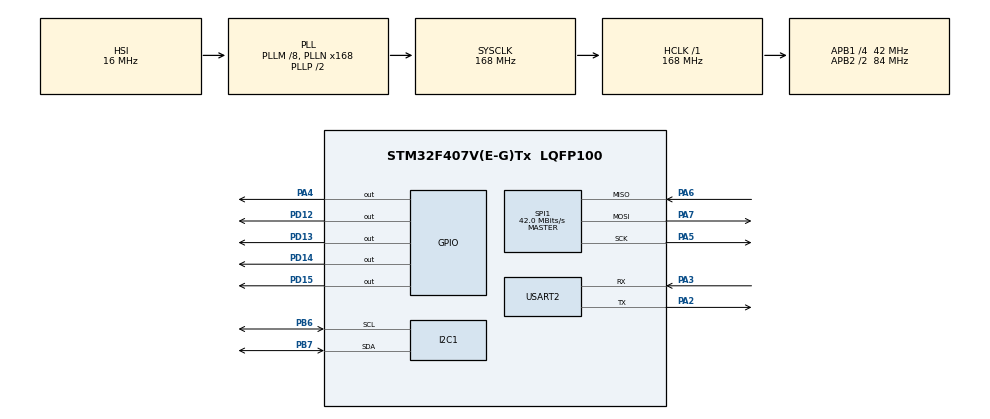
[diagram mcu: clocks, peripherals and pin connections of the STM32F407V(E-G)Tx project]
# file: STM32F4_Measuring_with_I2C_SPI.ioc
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Dma.Request0=SPI1_RX
Dma.Request1=SPI1_TX
Dma.SPI1_RX.0.Direction=DMA_PERIPH_TO_MEMORY
Dma.SPI1_RX.0.FIFOMode=DMA_FIFOMODE_DISABLE
Dma.SPI1_RX.0.Instance=DMA2_Stream0
Dma.SPI1_RX.0.MemDataAlignment=DMA_MDATAALIGN_BYTE
Dma.SPI1_RX.0.MemInc=DMA_MINC_ENABLE
Dma.SPI1_RX.0.Mode=DMA_NORMAL
Dma.SPI1_RX.0.PeriphDataAlignment=DMA_PDATAALIGN_BYTE
Dma.SPI1_RX.0.PeriphInc=DMA_PINC_DISABLE
Dma.SPI1_RX.0.Priority=DMA_PRIORITY_LOW
Dma.SPI1_TX.1.Direction=DMA_MEMORY_TO_PERIPH
Dma.SPI1_TX.1.FIFOMode=DMA_FIFOMODE_DISABLE
Dma.SPI1_TX.1.Instance=DMA2_Stream3
Dma.SPI1_TX.1.MemDataAlignment=DMA_MDATAALIGN_BYTE
Dma.SPI1_TX.1.MemInc=DMA_MINC_ENABLE
Dma.SPI1_TX.1.Mode=DMA_NORMAL
Dma.SPI1_TX.1.PeriphDataAlignment=DMA_PDATAALIGN_BYTE
Dma.SPI1_TX.1.PeriphInc=DMA_PINC_DISABLE
Dma.SPI1_TX.1.Priority=DMA_PRIORITY_LOW
I2C1.OwnAddress=41
Mcu.Family=STM32F4
Mcu.Name=STM32F407V(E-G)Tx
Mcu.Package=LQFP100
NVIC.DMA2_Stream0_IRQn=true\:1\:0\:true\:false\:true\:false\:true
NVIC.DMA2_Stream3_IRQn=true\:2\:0\:true\:false\:true\:false\:true
NVIC.PriorityGroup=NVIC_PRIORITYGROUP_4
NVIC.USART2_IRQn=true\:0\:0\:false\:true\:true\:1\:true\:true
PA2.Mode=Asynchronous
PA2.Signal=USART2_TX
PA3.Mode=Asynchronous
PA3.Signal=USART2_RX
PA4.Signal=GPIO_Output
PA5.Mode=Full_Duplex_Master
PA5.Signal=SPI1_SCK
PA6.Mode=Full_Duplex_Master
PA6.Signal=SPI1_MISO
PA7.Mode=Full_Duplex_Master
PA7.Signal=SPI1_MOSI
PB6.Mode=I2C
PB6.Signal=I2C1_SCL
PB7.Mode=I2C
PB7.Signal=I2C1_SDA
PD12.Signal=GPIO_Output
PD13.Signal=GPIO_Output
PD14.Signal=GPIO_Output
PD15.Signal=GPIO_Output
PH0-OSC_IN.Mode=HSE-External-Oscillator
PH0-OSC_IN.Signal=RCC_OSC_IN
PH1-OSC_OUT.Mode=HSE-External-Oscillator
PH1-OSC_OUT.Signal=RCC_OSC_OUT
ProjectManager.HeapSize=0x200
ProjectManager.StackSize=0x400
ProjectManager.TargetToolchain=SW4STM32
RCC.48MHZClocksFreq_Value=84000000
RCC.AHBFreq_Value=168000000
RCC.APB1CLKDivider=RCC_HCLK_DIV4
RCC.APB1Freq_Value=42000000
RCC.APB1TimFreq_Value=84000000
RCC.APB2CLKDivider=RCC_HCLK_DIV2
RCC.APB2Freq_Value=84000000
RCC.APB2TimFreq_Value=168000000
RCC.CortexFreq_Value=168000000
RCC.HCLKFreq_Value=168000000
RCC.HSE_VALUE=8000000
RCC.HSI_VALUE=16000000
RCC.LSE_VALUE=32768
RCC.PLLM=8
RCC.PLLN=168
RCC.SYSCLKFreq_VALUE=168000000
RCC.SYSCLKSource=RCC_SYSCLKSOURCE_PLLCLK
RCC.VCOOutputFreq_Value=336000000
SPI1.BaudRatePrescaler=SPI_BAUDRATEPRESCALER_2
SPI1.CLKPolarity=SPI_POLARITY_HIGH
SPI1.CalculateBaudRate=42.0 MBits/s
SPI1.Direction=SPI_DIRECTION_2LINES
SPI1.Mode=SPI_MODE_MASTER
SPI1.VirtualType=VM_MASTER
USART2.OverSampling=UART_OVERSAMPLING_16
USART2.VirtualMode=VM_ASYNC
board=custom

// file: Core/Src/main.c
/* USER CODE BEGIN Header */
/**
 ******************************************************************************
 * @file           : main.c
 * @brief          : Main program body
 ******************************************************************************
 * @attention
 *
 * <h2><center>&copy; Copyright (c) 2021 STMicroelectronics.
 * All rights reserved.</center></h2>
 *
 * This software component is licensed by ST under BSD 3-Clause license,
 * the "License"; You may not use this file except in compliance with the
 * License. You may obtain a copy of the License at:
 *                        opensource.org/licenses/BSD-3-Clause
 *
 ******************************************************************************
 */
/* USER CODE END Header */
#include "main.h"

/* USER CODE BEGIN Includes */
#include <stdio.h>
#include <string.h>
#include <stdio.h>
#include "math.h"

/* USER CODE END Includes */

/* USER CODE BEGIN PD */
#define max_strlen 50

/* USER CODE END PD */

I2C_HandleTypeDef hi2c1;

SPI_HandleTypeDef hspi1;
DMA_HandleTypeDef hdma_spi1_rx;
DMA_HandleTypeDef hdma_spi1_tx;

UART_HandleTypeDef huart2;

void SystemClock_Config(void);
static void MX_GPIO_Init(void);
static void MX_DMA_Init(void);
static void MX_USART2_UART_Init(void);
static void MX_I2C1_Init(void);
static void MX_SPI1_Init(void);
static void MX_NVIC_Init(void);
/* USER CODE BEGIN PFP */
void Usart_Menu(char *input);
void BMP180_Init();
float BMP180_Read_Pressure();
float BMP180_Read_Temperature();
void MPU9250_Init();
float * MPU9250_Read_Accels();

char msg[max_strlen + 1] = "Merhaba\n";
char rxbuffer;
char received_string[max_strlen + 1];
char usart_data[max_strlen + 1];
uint8_t cnt = 0;
uint8_t i = 0;
uint8_t i2cbuff[12];
HAL_StatusTypeDef state;
uint8_t ctrl = 0b01000000; // for standart mode(number of samples=2 conversion time= 7.5ms) used 6-7/ it means oss=0b01
uint8_t oss = 1;
long B5;
/* USER CODE END PFP */

/* USER CODE BEGIN 0 */
//byte to word   word=(msb<<8)+lsb
void BMP180_Init() {
	HAL_StatusTypeDef state;

	state = HAL_I2C_Mem_Write(&hi2c1, BMP180_WRITE_ADR, BMP180ADR_CTRL_REG, 1, &ctrl, 1, 10);  //1. Write oversampling settings to control register
	HAL_Delay(7.5);
	uint8_t data[BMP180ADR_CALIB_ADR_COUNT];

	if (state == HAL_OK) {

		HAL_I2C_Mem_Read(&hi2c1, BMP180_READ_ADR, BMP180ADR_CALIB_START_ADR, 1,data, BMP180ADR_CALIB_ADR_COUNT, 10); // 2. Read Calibration Data from device

		bmp_params.ac1 = (data[0] << 8) + data[1];
		bmp_params.ac2 = (data[2] << 8) + data[3];
		bmp_params.ac3 = (data[4] << 8) + data[5];
		bmp_params.ac4 = (data[6] << 8) + data[7];
		bmp_params.ac5 = (data[8] << 8) + data[8];
		bmp_params.ac6 = (data[10] << 8) + data[11];
		bmp_params.b1  = (data[12] << 8) + data[13];
		bmp_params.b2  = (data[14] << 8) + data[15];
		bmp_params.mb  = (data[16] << 8) + data[17];
		bmp_params.mc  = (data[18] << 8) + data[19];
		bmp_params.md  = (data[20] << 8) + data[11];

	}else{
		sprintf(msg, "BMP180 Error!\n");
		HAL_UART_Transmit_IT(&huart2, (uint8_t *) msg, strlen(msg));

		while(1){
			HAL_GPIO_TogglePin(GPIOD, GPIO_PIN_12);
			HAL_Delay(100);
		}
	}

}

float BMP180_Read_Pressure() {

	uint8_t buf[3] = {0};
	HAL_I2C_Mem_Write(&hi2c1, BMP180_WRITE_ADR, BMP180ADR_CTRL_REG, 1, (uint8_t *)BMP180_PRS_ADR, 1, 10); // if we put pressure address to control reg we can read pressure value from out registers
	HAL_Delay(8);
	HAL_I2C_Mem_Read(&hi2c1, BMP180_READ_ADR, BMP180_OUT_MSB_ADR, 1, &buf[0], 1, 10);                           // reading pressure values from device
	HAL_I2C_Mem_Read(&hi2c1, BMP180_READ_ADR, BMP180_OUT_LSB_ADR, 1, &buf[1], 1, 10);
	HAL_I2C_Mem_Read(&hi2c1, BMP180_READ_ADR, BMP180_OUT_XLSB_ADR, 1, &buf[2], 1, 10);

	//Calculate pressure value
	long pressure;
	long UP = (buf[0] << 16) + (buf[1] << 8) + (buf[2] >> (8 - oss));
	long B6 = B5 - 4000;
	long X1 = ((bmp_params.b2 * ((B6 * B6) / pow(2, 12)))) / pow(2, 11);
	long X2 = (bmp_params.ac2 * B6) / pow(2, 11);
	long X3 = X1 + X2;
	long B3 = (((bmp_params.ac1 * 4 + X3) << oss) + 2) / 4;
	X1 = (bmp_params.ac3 * B6) / pow(2, 13);
	X2 = (bmp_params.b1 * ((B6 * B6) / pow(2, 12))) / pow(2, 16);
	X3 = ((X1 + X2) + 2) / (2 * 2);
	long B4 = bmp_params.ac4 * (unsigned long)(X3 + 32768) / pow(2, 15);
	long B7 = ((unsigned long)UP - B3) * (50000 >> oss);

	if(B7 < 0x80000000){pressure = (B7 * 2) / B4;}
	else{pressure = (B7 / B4) * 2;}

	X1 = (pressure / pow(2, 8)) * (pressure / pow(2, 8));
	X1 = (X1 * 3038) / pow(2, 16);
	X2 = (-7357 * pressure) / pow(2, 16);
	pressure = pressure + (X1 + X2 + 3791) / pow(2, 4);

	return (float)pressure;
}

float BMP180_Read_Temperature(){

	uint8_t buf[2] = {0};
	HAL_I2C_Mem_Write(&hi2c1, BMP180_WRITE_ADR, BMP180ADR_CTRL_REG, 1, (uint8_t *)BMP180_TMP_ADR, 1, 10); // if we put temp. address to control reg we can read temp value from out registers
	HAL_Delay(5);
	HAL_I2C_Mem_Read(&hi2c1, BMP180_READ_ADR, BMP180_OUT_LSB_ADR, 1, &buf[0], 1, 10);					   	// getting temp. values from device
	HAL_I2C_Mem_Read(&hi2c1, BMP180_READ_ADR, BMP180_OUT_MSB_ADR, 1, &buf[1], 1, 10);

	long UT = (buf[1] << 8) + buf[0];      // Uncompansated temp value

	//Calculate temp value
	long X1 = (UT - bmp_params.ac6) * (bmp_params.ac5 /pow(2, 15));
	long X2 = (bmp_params.mc * pow(2, 11)) / (X1 + bmp_params.md);
	B5 = X1 + X2;
	long temp = (B5 + 8) / pow(2, 4);

	return (float)temp;
}

void MPU9250_Init(){
	HAL_GPIO_WritePin(GPIOA, GPIO_PIN_4, GPIO_PIN_SET); // NCS Pin High to enable chip

	HAL_StatusTypeDef state;

	uint8_t rx;

	state = HAL_SPI_TransmitReceive(&hspi1, (uint8_t *)MPU9250_WHOAMI, &rx, 1, 50);  //Check WHO AM I register in MPU9250. It should be equal to reset value(0x71) by datasheet.

	if(rx != 0x71 || state != HAL_OK)
		Error_Handler();

	HAL_SPI_Transmit(&hspi1, (uint8_t *)MPU9250_PWR_MGMT_1, 1, 50); // Send 0x80 to pwr_mgmt_1 register for reset chip
	HAL_SPI_Transmit(&hspi1, (uint8_t *)0x08, 1, 50);
	HAL_Delay(10); // wait for chip to back

	HAL_SPI_Transmit(&hspi1, (uint8_t *)MPU9250_PWR_MGMT_2, 1, 50); // Send 0x00 to pwr_mgmt_2 register for enable accelerometer and gyro
	HAL_SPI_Transmit(&hspi1, (uint8_t *)0x00, 1, 50);

	HAL_SPI_Transmit(&hspi1, (uint8_t *)MPU9250_ACCEL_CONFIG, 1, 50); // Send 0x18 to accel_config register for set accelerometer range 16g
	HAL_SPI_Transmit(&hspi1, (uint8_t *)0x18, 1, 50);

	HAL_SPI_Transmit(&hspi1, (uint8_t *)MPU9250_ACCEL_CONFIG_2, 1, 50); // Send 0x01 to accel_config_2 register for set bandwith 184Hz
	HAL_SPI_Transmit(&hspi1, (uint8_t *)0x01, 1, 50);

	HAL_SPI_Transmit(&hspi1, (uint8_t *)MPU9250_SMPLRT_DIV, 1, 50); // Send 0x00 to smplrt_div register for update rate divider as 0
	HAL_SPI_Transmit(&hspi1, (uint8_t *)0x00, 1, 50);

	HAL_SPI_Transmit(&hspi1, (uint8_t *)MPU9250_USER_CTRL, 1, 50); // Send 0x10 to user_ctrl register for disable i2c and enable spi mode
	HAL_SPI_Transmit(&hspi1, (uint8_t *)0x10, 1, 50);

	HAL_GPIO_WritePin(GPIOA, GPIO_PIN_4, GPIO_PIN_RESET); // NCS Pin low to disable chip

	//MPU9250 communication began.

}

float * MPU9250_Read_Accels(){  // This function is returning pointer to acces 3-axis accel data from device with only 1 function calling
	HAL_GPIO_WritePin(GPIOA, GPIO_PIN_4, GPIO_PIN_SET); // NCS Pin High to enable chip

	uint8_t accels[6];
	static short * results[3];

	HAL_SPI_TransmitReceive_DMA(&hspi1, (uint8_t *)MPU9250_ACCEL_XOUT_H, (uint8_t *)accels, 6);  // start reading from XOUT_H register to ZOUT_L sequential

	*results[0] = (accels[0]<<8) + accels[1]; // acceleration value of x-axis
	*results[1] = (accels[2]<<8) + accels[3]; // acceleration value of y-axis
	*results[2] = (accels[4]<<8) + accels[5]; // acceleration value of z-axis

	HAL_GPIO_WritePin(GPIOA, GPIO_PIN_4, GPIO_PIN_RESET); // NCS Pin low to disable chip

	return (float *)results;
}

void HAL_UART_RxCpltCallback(UART_HandleTypeDef *huart) {  // This Function work when receive data from usart
	/* Prevent unused argument(s) compilation warning */
	UNUSED(huart);
	/* NOTE: This function should not be modified, when the callback is needed,
	 the HAL_UART_RxCpltCallback could be implemented in the user file
	 */

	if ((rxbuffer != '\n') && (cnt < max_strlen)) { // Read usart data as 1 char then combine them all as char array
		                                            // until receive '\n' character or reach to max string length

		received_string[cnt] = rxbuffer;

		cnt++;
		i = cnt;

	} else {										// When complete the receiving data then copy to usart_data variable and remove received_string for new data receive

		cnt = 0;
		strcpy(usart_data, received_string);

		Usart_Menu(usart_data);						// send usart_data to Usart_Menu function for general operations

		HAL_GPIO_TogglePin(GPIOD, GPIO_PIN_15);
		memset(&received_string, 0, sizeof(received_string)); // remove received_string

	}

}

void Usart_Menu(char *input) {

	float *a;                    /* pointer for hold accelerometer values
	 	 	 	 	 	 	 	 	a -> x-axis
	 	 	 	 	 	 	 	 	a + 1 -> y axis
	 	 	 	 	 	 	 	 	a + 2 -> z axis*/

	a = MPU9250_Read_Accels();

	float ay = *(a + 1);
	float az = *(a + 2);
	float angle = atan2(ay, az)*180/M_PI;   /*Calculate roll angle
	 	 	 	 	 	 	 	 	 	 	  !!!atan2 function(arc tangent) returns value as rad/s
	 	 	 	 	 	 	 	 	 	 	  we can calculate degree with multiply 180/M_PI*/

	if (!strcmp(input, "p")) {										   // if receive 'p' from usart send pressure value back
		sprintf(msg, "Pressure: %f\n", BMP180_Read_Temperature());
		HAL_UART_Transmit_IT(&huart2, (uint8_t *) msg, strlen(msg));
		HAL_GPIO_TogglePin(GPIOD, GPIO_PIN_12);

	} else if (!strcmp(input, "t")) {
		sprintf(msg, "Temperature: %f\n", BMP180_Read_Temperature()); // if receive 't' from usart send temperature value back
		HAL_UART_Transmit_IT(&huart2, (uint8_t *) msg, strlen(msg));

	} else if (!strcmp(input, "a")) {
		sprintf(msg, "Angle: %f\n",angle);
		HAL_UART_Transmit_IT(&huart2, (uint8_t *) msg, strlen(msg));  // if receive 'a' from usart send angle value back

	} else if (!strcmp(input, "all")) {								  // if receive 'all' from usart send all value back
		sprintf(msg, "Pressure: %f Temp: %f Angle: %f\n", BMP180_Read_Pressure(), BMP180_Read_Temperature(), angle);
		HAL_UART_Transmit_IT(&huart2, (uint8_t *) msg, strlen(msg));

	}

}

/* USER CODE END 0 */

int main(void)
{

  /* MCU Configuration--------------------------------------------------------*/

  /* Reset of all peripherals, Initializes the Flash interface and the Systick. */
  HAL_Init();

  /* Configure the system clock */
  SystemClock_Config();

  /* Initialize all configured peripherals */
  MX_GPIO_Init();
  MX_DMA_Init();
  MX_USART2_UART_Init();
  MX_I2C1_Init();
  MX_SPI1_Init();

  /* Initialize interrupts */
  MX_NVIC_Init();
  /* USER CODE BEGIN 2 */

  __HAL_UART_ENABLE_IT(&huart2, UART_IT_RXNE);

  HAL_UART_Transmit_IT(&huart2, (uint8_t *) msg, strlen(msg));

  __HAL_SPI_ENABLE(&hspi1);
  BMP180_Init();
  MPU9250_Init();

  /* USER CODE END 2 */

  /* Infinite loop */
	while (1) {

    /* USER CODE BEGIN 3 */

		HAL_Delay(10);

	}
  /* USER CODE END 3 */
}

void SystemClock_Config(void)
{
  RCC_OscInitTypeDef RCC_OscInitStruct = {0};
  RCC_ClkInitTypeDef RCC_ClkInitStruct = {0};

  /** Configure the main internal regulator output voltage
  */
  __HAL_RCC_PWR_CLK_ENABLE();
  __HAL_PWR_VOLTAGESCALING_CONFIG(PWR_REGULATOR_VOLTAGE_SCALE1);
  /** Initializes the RCC Oscillators according to the specified parameters
  * in the RCC_OscInitTypeDef structure.
  */
  RCC_OscInitStruct.OscillatorType = RCC_OSCILLATORTYPE_HSI;
  RCC_OscInitStruct.HSIState = RCC_HSI_ON;
  RCC_OscInitStruct.HSICalibrationValue = RCC_HSICALIBRATION_DEFAULT;
  RCC_OscInitStruct.PLL.PLLState = RCC_PLL_ON;
  RCC_OscInitStruct.PLL.PLLSource = RCC_PLLSOURCE_HSI;
  RCC_OscInitStruct.PLL.PLLM = 8;
  RCC_OscInitStruct.PLL.PLLN = 168;
  RCC_OscInitStruct.PLL.PLLP = RCC_PLLP_DIV2;
  RCC_OscInitStruct.PLL.PLLQ = 4;
  if (HAL_RCC_OscConfig(&RCC_OscInitStruct) != HAL_OK)
  {
    Error_Handler();
  }
  /** Initializes the CPU, AHB and APB buses clocks
  */
  RCC_ClkInitStruct.ClockType = RCC_CLOCKTYPE_HCLK|RCC_CLOCKTYPE_SYSCLK
                              |RCC_CLOCKTYPE_PCLK1|RCC_CLOCKTYPE_PCLK2;
  RCC_ClkInitStruct.SYSCLKSource = RCC_SYSCLKSOURCE_PLLCLK;
  RCC_ClkInitStruct.AHBCLKDivider = RCC_SYSCLK_DIV1;
  RCC_ClkInitStruct.APB1CLKDivider = RCC_HCLK_DIV4;
  RCC_ClkInitStruct.APB2CLKDivider = RCC_HCLK_DIV2;

  if (HAL_RCC_ClockConfig(&RCC_ClkInitStruct, FLASH_LATENCY_5) != HAL_OK)
  {
    Error_Handler();
  }
}

/**
  * @brief NVIC Configuration.
  * @retval None
  */
static void MX_NVIC_Init(void)
{
  /* USART2_IRQn interrupt configuration */
  HAL_NVIC_SetPriority(USART2_IRQn, 0, 0);
  HAL_NVIC_EnableIRQ(USART2_IRQn);
}

static void MX_I2C1_Init(void)
{

  hi2c1.Instance = I2C1;
  hi2c1.Init.ClockSpeed = 100000;
  hi2c1.Init.DutyCycle = I2C_DUTYCYCLE_2;
  hi2c1.Init.OwnAddress1 = 82;
  hi2c1.Init.AddressingMode = I2C_ADDRESSINGMODE_7BIT;
  hi2c1.Init.DualAddressMode = I2C_DUALADDRESS_DISABLE;
  hi2c1.Init.OwnAddress2 = 0;
  hi2c1.Init.GeneralCallMode = I2C_GENERALCALL_DISABLE;
  hi2c1.Init.NoStretchMode = I2C_NOSTRETCH_DISABLE;
  if (HAL_I2C_Init(&hi2c1) != HAL_OK)
  {
    Error_Handler();
  }

}

static void MX_SPI1_Init(void)
{

  /* SPI1 parameter configuration*/
  hspi1.Instance = SPI1;
  hspi1.Init.Mode = SPI_MODE_MASTER;
  hspi1.Init.Direction = SPI_DIRECTION_2LINES;
  hspi1.Init.DataSize = SPI_DATASIZE_8BIT;
  hspi1.Init.CLKPolarity = SPI_POLARITY_HIGH;
  hspi1.Init.CLKPhase = SPI_PHASE_1EDGE;
  hspi1.Init.NSS = SPI_NSS_SOFT;
  hspi1.Init.BaudRatePrescaler = SPI_BAUDRATEPRESCALER_2;
  hspi1.Init.FirstBit = SPI_FIRSTBIT_MSB;
  hspi1.Init.TIMode = SPI_TIMODE_DISABLE;
  hspi1.Init.CRCCalculation = SPI_CRCCALCULATION_DISABLE;
  hspi1.Init.CRCPolynomial = 10;
  if (HAL_SPI_Init(&hspi1) != HAL_OK)
  {
    Error_Handler();
  }

}

static void MX_USART2_UART_Init(void)
{

  huart2.Instance = USART2;
  huart2.Init.BaudRate = 115200;
  huart2.Init.WordLength = UART_WORDLENGTH_8B;
  huart2.Init.StopBits = UART_STOPBITS_1;
  huart2.Init.Parity = UART_PARITY_NONE;
  huart2.Init.Mode = UART_MODE_TX_RX;
  huart2.Init.HwFlowCtl = UART_HWCONTROL_NONE;
  huart2.Init.OverSampling = UART_OVERSAMPLING_16;
  if (HAL_UART_Init(&huart2) != HAL_OK)
  {
    Error_Handler();
  }

}

static void MX_DMA_Init(void)
{

  /* DMA controller clock enable */
  __HAL_RCC_DMA2_CLK_ENABLE();

  /* DMA interrupt init */
  /* DMA2_Stream0_IRQn interrupt configuration */
  HAL_NVIC_SetPriority(DMA2_Stream0_IRQn, 1, 0);
  HAL_NVIC_EnableIRQ(DMA2_Stream0_IRQn);
  /* DMA2_Stream3_IRQn interrupt configuration */
  HAL_NVIC_SetPriority(DMA2_Stream3_IRQn, 2, 0);
  HAL_NVIC_EnableIRQ(DMA2_Stream3_IRQn);

}

static void MX_GPIO_Init(void)
{
  GPIO_InitTypeDef GPIO_InitStruct = {0};

  /* GPIO Ports Clock Enable */
  __HAL_RCC_GPIOH_CLK_ENABLE();
  __HAL_RCC_GPIOA_CLK_ENABLE();
  __HAL_RCC_GPIOD_CLK_ENABLE();
  __HAL_RCC_GPIOB_CLK_ENABLE();

  /*Configure GPIO pin Output Level */
  HAL_GPIO_WritePin(GPIOA, GPIO_PIN_4, GPIO_PIN_RESET);

  /*Configure GPIO pin Output Level */
  HAL_GPIO_WritePin(GPIOD, GPIO_PIN_12|GPIO_PIN_13|GPIO_PIN_14|GPIO_PIN_15, GPIO_PIN_RESET);

  /*Configure GPIO pin : PA4 */
  GPIO_InitStruct.Pin = GPIO_PIN_4;
  GPIO_InitStruct.Mode = GPIO_MODE_OUTPUT_PP;
  GPIO_InitStruct.Pull = GPIO_NOPULL;
  GPIO_InitStruct.Speed = GPIO_SPEED_FREQ_LOW;
  HAL_GPIO_Init(GPIOA, &GPIO_InitStruct);

  /*Configure GPIO pins : PD12 PD13 PD14 PD15 */
  GPIO_InitStruct.Pin = GPIO_PIN_12|GPIO_PIN_13|GPIO_PIN_14|GPIO_PIN_15;
  GPIO_InitStruct.Mode = GPIO_MODE_OUTPUT_PP;
  GPIO_InitStruct.Pull = GPIO_NOPULL;
  GPIO_InitStruct.Speed = GPIO_SPEED_FREQ_LOW;
  HAL_GPIO_Init(GPIOD, &GPIO_InitStruct);

}

void Error_Handler(void)
{
	__disable_irq();
	while (1) {
	}
}

/************************ (C) COPYRIGHT STMicroelectronics *****END OF FILE****/
